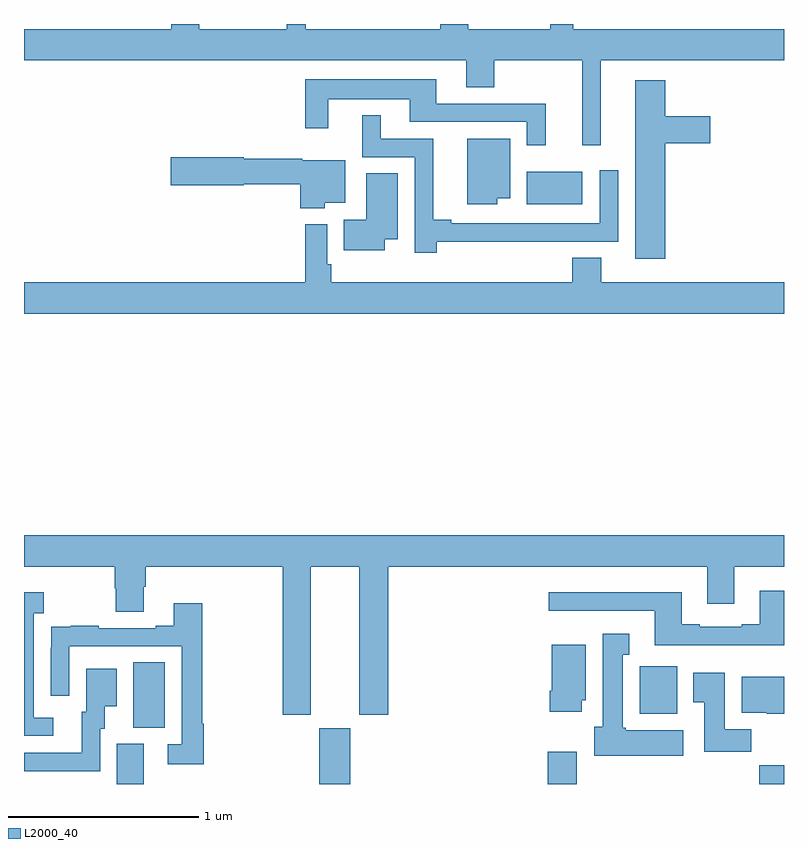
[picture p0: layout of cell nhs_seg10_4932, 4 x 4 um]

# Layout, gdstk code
import gdstk
lib = gdstk.Library(unit=1e-6, precision=1e-09)
def R(c, l, rs):  # rectangles x0, y0, x1, y1
    for r in rs: c.add(gdstk.rectangle(r[:2], r[2:], *l))
def P(c, l, *ps):  # polygons
    for p in ps: c.add(gdstk.Polygon(p, *l))
L2000_40 = (2000, 40)

nhs_seg10_4932 = lib.new_cell('nhs_seg10_4932')
R(nhs_seg10_4932, L2000_40, [(395.489,1304.5,395.629,1304.712), (396.554,1304.5,396.718,1304.793), (397.757,1304.5,397.909,1304.671), (398.869,1304.5,399,1304.6), (395.576,1304.797,395.74,1305.14), (398.241,1304.87,398.437,1305.12), (397.646,1307.552,397.939,1307.722)])
P(nhs_seg10_4932, L2000_40, [(398.036,1308.308),(399,1308.308),(399,1308.472),(397.892,1308.472),(397.892,1308.5),(397.769,1308.5),(397.769,1308.472),(397.339,1308.472),(397.339,1308.5),(397.192,1308.5),(397.192,1308.472),(396.482,1308.472),(396.482,1308.5),(396.383,1308.5),(396.383,1308.472),(395.922,1308.472),(395.922,1308.5),(395.774,1308.5),(395.774,1308.472),(395,1308.472),(395,1308.308),(397.328,1308.308),(397.328,1308.166),(397.476,1308.166),(397.476,1308.308),(397.937,1308.308),(397.937,1307.862),(398.036,1307.862)],
  [(397.745,1308.081),(397.171,1308.081),(397.171,1308.208),(396.48,1308.208),(396.48,1307.952),(396.601,1307.952),(396.601,1308.104),(397.031,1308.104),(397.031,1307.985),(397.647,1307.985),(397.647,1307.862),(397.745,1307.862)],
  [(398.375,1307.873),(398.611,1307.873),(398.611,1308.015),(398.375,1308.015),(398.375,1308.205),(398.216,1308.205),(398.216,1307.265),(398.375,1307.265)],
  [(397.172,1307.354),(397.802,1307.354),(397.802,1307.355),(398.127,1307.355),(398.127,1307.731),(398.031,1307.731),(398.031,1307.451),(397.249,1307.451),(397.249,1307.471),(397.154,1307.471),(397.154,1307.895),(396.877,1307.895),(396.877,1308.019),(396.779,1308.019),(396.779,1307.799),(397.056,1307.799),(397.056,1307.295),(397.172,1307.295)],
  [(397.492,1307.582),(397.558,1307.582),(397.558,1307.896),(397.334,1307.896),(397.334,1307.552),(397.492,1307.552)],
  [(396.582,1307.558),(396.691,1307.558),(396.691,1307.782),(396.465,1307.782),(396.465,1307.792),(396.156,1307.792),(396.156,1307.798),(395.772,1307.798),(395.772,1307.651),(396.156,1307.651),(396.156,1307.656),(396.454,1307.656),(396.454,1307.531),(396.582,1307.531)],
  [(396.898,1307.366),(396.967,1307.366),(396.967,1307.714),(396.8,1307.714),(396.8,1307.47),(396.682,1307.47),(396.682,1307.309),(396.898,1307.309)],
  [(399,1307.14),(398.038,1307.14),(398.038,1307.27),(397.886,1307.27),(397.886,1307.14),(396.617,1307.14),(396.617,1307.236),(396.597,1307.236),(396.597,1307.446),(396.481,1307.446),(396.481,1307.14),(395,1307.14),(395,1306.976),(399,1306.976)],
  [(396.508,1305.644),(396.764,1305.644),(396.764,1304.865),(396.917,1304.865),(396.917,1305.644),(398.597,1305.644),(398.597,1305.45),(398.737,1305.45),(398.737,1305.644),(399,1305.644),(399,1305.808),(395,1305.808),(395,1305.644),(395.477,1305.644),(395.477,1305.531),(395.482,1305.531),(395.482,1305.406),(395.629,1305.406),(395.629,1305.538),(395.642,1305.538),(395.642,1305.644),(396.361,1305.644),(396.361,1304.865),(396.508,1304.865)],
  [(399,1305.517),(398.873,1305.517),(398.873,1305.34),(398.777,1305.34),(398.777,1305.327),(398.557,1305.327),(398.557,1305.34),(398.461,1305.34),(398.461,1305.508),(397.761,1305.508),(397.761,1305.411),(398.321,1305.411),(398.321,1305.23),(399,1305.23)],
  [(395.155,1304.85),(395.052,1304.85),(395.052,1305.398),(395.104,1305.398),(395.104,1305.508),(395,1305.508),(395,1304.754),(395.155,1304.754)],
  [(395.945,1304.816),(395.938,1304.816),(395.938,1305.451),(395.789,1305.451),(395.789,1305.334),(395.693,1305.334),(395.693,1305.321),(395.393,1305.321),(395.393,1305.334),(395.245,1305.334),(395.245,1305.327),(395.143,1305.327),(395.143,1305.218),(395.142,1305.218),(395.142,1304.964),(395.238,1304.964),(395.238,1305.225),(395.829,1305.225),(395.829,1304.709),(395.757,1304.709),(395.757,1304.604),(395.945,1304.604)],
  [(398.47,1304.782),(398.166,1304.782),(398.166,1304.796),(398.152,1304.796),(398.152,1305.179),(398.185,1305.179),(398.185,1305.292),(398.045,1305.292),(398.045,1304.802),(398,1304.802),(398,1304.648),(398.47,1304.648)],
  [(397.936,1304.94),(397.957,1304.94),(397.957,1305.232),(397.778,1305.232),(397.778,1304.992),(397.766,1304.992),(397.766,1304.88),(397.936,1304.88)],
  [(395.4,1304.79),(395.425,1304.79),(395.425,1304.909),(395.488,1304.909),(395.488,1305.106),(395.327,1305.106),(395.327,1304.88),(395.303,1304.88),(395.303,1304.664),(395,1304.664),(395,1304.568),(395.4,1304.568)],
  [(398.828,1304.788),(398.689,1304.788),(398.689,1305.085),(398.522,1305.085),(398.522,1304.929),(398.579,1304.929),(398.579,1304.67),(398.828,1304.67)],
  [(399,1305.064),(398.777,1305.064),(398.777,1304.876),(398.91,1304.876),(398.91,1304.87),(399,1304.87)])

lib.write_gds('nhs_seg10_4932.gds')
